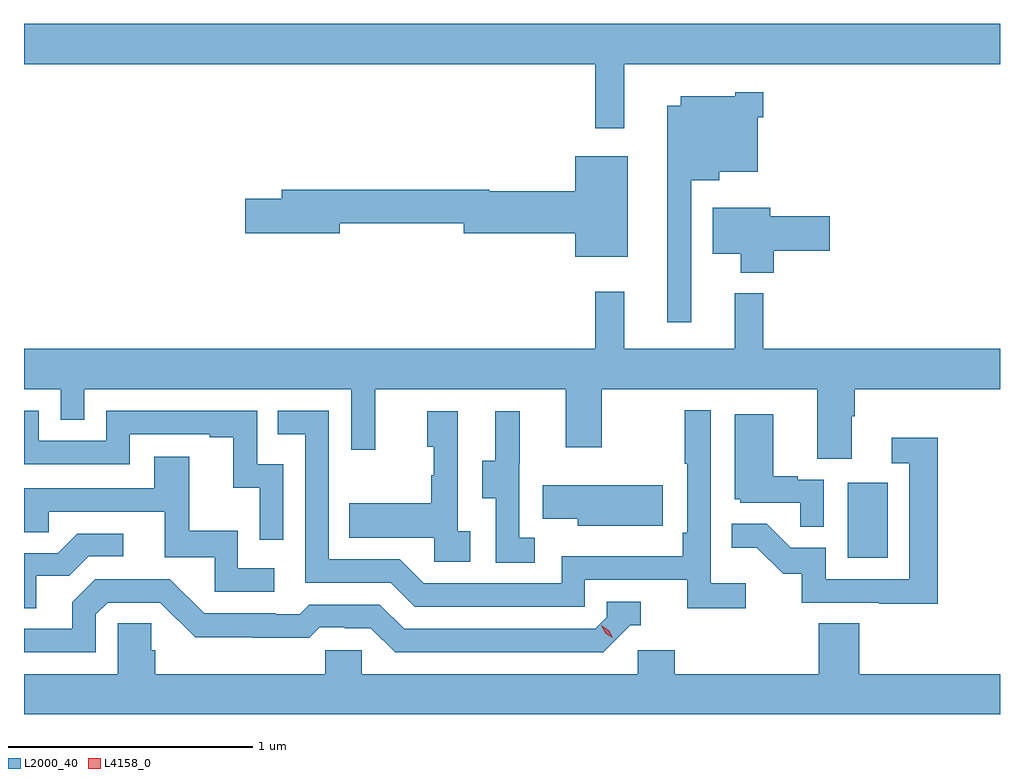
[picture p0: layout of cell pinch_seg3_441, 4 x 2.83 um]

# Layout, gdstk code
import gdstk
lib = gdstk.Library(unit=1e-6, precision=1e-09)
def R(c, l, rs):  # rectangles x0, y0, x1, y1
    for r in rs: c.add(gdstk.rectangle(r[:2], r[2:], *l))
def P(c, l, *ps):  # polygons
    for p in ps: c.add(gdstk.Polygon(p, *l))
L2000_40 = (2000, 40)
L4158_0 = (4158, 0)

pinch_seg3_441 = lib.new_cell('pinch_seg3_441')
R(pinch_seg3_441, L2000_40, [(926.6,680.244,926.764,680.551)])
P(pinch_seg3_441, L2000_40, [(925.686,682.268),(927.225,682.268),(927.225,682.432),(923.225,682.432),(923.225,682.268),(925.567,682.268),(925.567,682.005),(925.686,682.005)],
  [(925.959,681.791),(926.074,681.791),(926.074,681.827),(926.233,681.827),(926.233,682.049),(926.255,682.049),(926.255,682.153),(926.139,682.153),(926.139,682.135),(925.916,682.135),(925.916,682.096),(925.862,682.096),(925.862,681.21),(925.959,681.21)],
  [(925.699,681.889),(925.484,681.889),(925.484,681.746),(925.132,681.746),(925.132,681.752),(924.281,681.752),(924.281,681.716),(924.132,681.716),(924.132,681.574),(924.52,681.574),(924.52,681.616),(925.028,681.616),(925.028,681.574),(925.484,681.574),(925.484,681.479),(925.699,681.479)],
  [(926.297,681.502),(926.527,681.502),(926.527,681.644),(926.284,681.644),(926.284,681.679),(926.048,681.679),(926.048,681.491),(926.162,681.491),(926.162,681.413),(926.297,681.413)],
  [(923.225,680.936),(923.376,680.936),(923.376,680.809),(923.472,680.809),(923.472,680.936),(924.567,680.936),(924.567,680.688),(924.665,680.688),(924.665,680.936),(925.445,680.936),(925.445,680.697),(925.593,680.697),(925.593,680.936),(926.477,680.936),(926.477,680.65),(926.617,680.65),(926.617,680.824),(926.63,680.824),(926.63,680.936),(927.225,680.936),(927.225,681.1),(926.255,681.1),(926.255,681.328),(926.138,681.328),(926.138,681.1),(925.685,681.1),(925.685,681.334),(925.567,681.334),(925.567,681.1),(923.225,681.1)],
  [(926.182,680.14),(926.04,680.14),(926.04,680.848),(925.932,680.848),(925.932,680.629),(925.944,680.629),(925.944,680.347),(925.924,680.347),(925.924,680.25),(925.428,680.25),(925.428,680.139),(924.864,680.139),(924.765,680.238),(924.474,680.238),(924.474,680.847),(924.265,680.847),(924.265,680.751),(924.378,680.751),(924.378,680.142),(924.728,680.142),(924.827,680.043),(925.524,680.043),(925.524,680.154),(925.943,680.154),(925.943,680.038),(926.182,680.038)],
  [(924.288,680.628),(924.18,680.628),(924.18,680.847),(923.562,680.847),(923.562,680.724),(923.286,680.724),(923.286,680.847),(923.225,680.847),(923.225,680.628),(923.658,680.628),(923.658,680.751),(923.987,680.751),(923.987,680.739),(924.083,680.739),(924.083,680.531),(924.192,680.531),(924.192,680.319),(924.288,680.319)],
  [(925.318,680.327),(925.254,680.327),(925.254,680.631),(925.256,680.631),(925.256,680.845),(925.157,680.845),(925.157,680.643),(925.103,680.643),(925.103,680.488),(925.158,680.488),(925.158,680.224),(925.318,680.224)],
  [(925.054,680.354),(925.002,680.354),(925.002,680.845),(924.878,680.845),(924.878,680.7),(924.904,680.7),(924.904,680.582),(924.894,680.582),(924.894,680.467),(924.559,680.467),(924.559,680.327),(924.906,680.327),(924.906,680.229),(925.054,680.229)],
  [(926.502,680.565),(926.396,680.565),(926.396,680.578),(926.296,680.578),(926.296,680.833),(926.138,680.833),(926.138,680.484),(926.16,680.484),(926.16,680.469),(926.407,680.469),(926.407,680.371),(926.502,680.371)],
  [(926.969,680.737),(926.781,680.737),(926.781,680.631),(926.853,680.631),(926.853,680.157),(926.511,680.157),(926.511,680.286),(926.367,680.286),(926.269,680.384),(926.125,680.384),(926.125,680.285),(926.229,680.285),(926.336,680.178),(926.413,680.178),(926.413,680.061),(926.731,680.061),(926.731,680.056),(926.969,680.056)],
  [(924.25,680.202),(924.102,680.202),(924.102,680.356),(923.903,680.356),(923.903,680.659),(923.759,680.659),(923.759,680.529),(923.225,680.529),(923.225,680.349),(923.327,680.349),(923.327,680.433),(923.801,680.433),(923.801,680.247),(924.006,680.247),(924.006,680.106),(924.25,680.106)],
  [(925.843,680.542),(925.351,680.542),(925.351,680.405),(925.494,680.405),(925.494,680.375),(925.843,680.375)],
  [(923.275,680.17),(923.41,680.17),(923.49,680.25),(923.632,680.25),(923.632,680.343),(923.444,680.343),(923.363,680.262),(923.225,680.262),(923.225,680.038),(923.275,680.038)],
  [(923.52,680.013),(923.568,680.061),(923.784,680.061),(923.926,679.919),(924.162,679.919),(924.162,679.917),(924.395,679.917),(924.437,679.959),(924.54,679.959),(924.54,679.956),(924.647,679.956),(924.746,679.857),(925.599,679.857),(925.71,679.968),(925.753,679.968),(925.753,680.064),(925.614,680.064),(925.614,680.001),(925.566,679.953),(924.783,679.953),(924.684,680.052),(924.395,680.052),(924.356,680.013),(924.257,680.013),(924.257,680.016),(923.964,680.016),(923.823,680.157),(923.517,680.157),(923.423,680.063),(923.423,679.953),(923.225,679.953),(923.225,679.857),(923.52,679.857)],
  [(927.225,679.768),(926.648,679.768),(926.648,679.976),(926.483,679.976),(926.483,679.768),(925.892,679.768),(925.892,679.866),(925.74,679.866),(925.74,679.768),(924.609,679.768),(924.609,679.866),(924.459,679.866),(924.459,679.768),(923.762,679.768),(923.762,679.866),(923.747,679.866),(923.747,679.976),(923.61,679.976),(923.61,679.768),(923.225,679.768),(923.225,679.604),(927.225,679.604)])
P(pinch_seg3_441, L4158_0, [(925.638,679.916),(925.607,679.935),(925.59,679.967),(925.59,679.967),(925.59,679.967),(925.621,679.948),(925.638,679.916),(925.638,679.916)])

lib.write_gds('pinch_seg3_441.gds')
